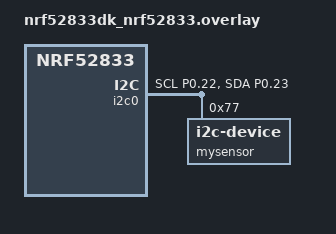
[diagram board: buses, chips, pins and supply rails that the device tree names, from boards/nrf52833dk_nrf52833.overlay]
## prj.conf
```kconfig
#
# Copyright (c) 2016 Intel Corporation
#
# SPDX-License-Identifier: Apache-2.0
#

# STEP 2 - Enable the I2C driver
CONFIG_I2C=y
# STEP 4.2 - Enable floating point format specifiers
CONFIG_CBPRINTF_FP_SUPPORT=y

# Shorten I2C transfer timeout so waveforms appear more frequently
# when no slave is connected (default is 500 ms)
CONFIG_I2C_NRFX_TRANSFER_TIMEOUT=10

# Disable device runtime PM to force TWIM stay active after init
CONFIG_PM_DEVICE_RUNTIME=n
```

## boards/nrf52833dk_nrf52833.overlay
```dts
// To get started, press Ctrl+Space to bring up the completion menu and view the available nodes.
// For more help, browse the DeviceTree documentation at https://docs.zephyrproject.org/latest/guides/dts/index.html

&i2c0 {
    status = "okay";
    
    // We need to use TWIM due to TWI driver issues in nRF Connect SDK v3.2.0 (the issue will be fixed in v3.3.0)
    compatible = "nordic,nrf-twim";

    pinctrl-0 = <&i2c0_default>;
    pinctrl-1 = <&i2c0_sleep>;
    pinctrl-names = "default", "sleep";
    mysensor: mysensor@77{
        compatible = "i2c-device";
        status = "okay";
        reg = < 0x77 >;
    };
};

&pinctrl {
    /omit-if-no-ref/ i2c0_default: i2c0_default {
        group1  {
            psels = <NRF_PSEL(TWIM_SCL, 0, 22)>,
                    <NRF_PSEL(TWIM_SDA, 0, 23)>;
        };
    };

    /omit-if-no-ref/ i2c0_sleep: i2c0_sleep {
        group1  {
            psels = <NRF_PSEL(TWIM_SCL, 0, 22)>,
                    <NRF_PSEL(TWIM_SDA, 0, 23)>;
            low-power-enable;
        };
    };
};
```

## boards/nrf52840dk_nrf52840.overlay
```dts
// To get started, press Ctrl+Space to bring up the completion menu and view the available nodes.
// For more help, browse the DeviceTree documentation at https://docs.zephyrproject.org/latest/guides/dts/index.html

&i2c0 {
    status = "okay";
    
    // We need to use TWIM due to TWI driver issues in nRF Connect SDK v3.2.0 (the issue will be fixed in v3.3.0)
    compatible = "nordic,nrf-twim";

    pinctrl-0 = <&i2c0_default>;
    pinctrl-1 = <&i2c0_sleep>;
    pinctrl-names = "default", "sleep";
    mysensor: mysensor@77{
        compatible = "i2c-device";
        status = "okay";
        reg = < 0x77 >;
    };
};

&pinctrl {
    /omit-if-no-ref/ i2c0_default: i2c0_default {
        group1  {
            psels = <NRF_PSEL(TWIM_SCL, 1, 14)>,
                    <NRF_PSEL(TWIM_SDA, 1, 15)>;
        };
    };

    /omit-if-no-ref/ i2c0_sleep: i2c0_sleep {
        group1  {
            psels = <NRF_PSEL(TWIM_SCL, 1, 14)>,
                    <NRF_PSEL(TWIM_SDA, 1, 15)>;
            low-power-enable;
        };
    };
};
```

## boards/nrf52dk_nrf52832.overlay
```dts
// To get started, press Ctrl+Space to bring up the completion menu and view the available nodes.
// For more help, browse the DeviceTree documentation at https://docs.zephyrproject.org/latest/guides/dts/index.html

&i2c0 {
    status = "okay";
    
    // We need to use TWIM due to TWI driver issues in nRF Connect SDK v3.2.0 (the issue will be fixed in v3.3.0)
    compatible = "nordic,nrf-twim";

    pinctrl-0 = <&i2c0_default>;
    pinctrl-1 = <&i2c0_sleep>;
    pinctrl-names = "default", "sleep";
    mysensor: mysensor@77{
        compatible = "i2c-device";
        status = "okay";
        reg = < 0x77 >;
    };
};

&pinctrl {
    /omit-if-no-ref/ i2c0_default: i2c0_default {
        group1  {
            psels = <NRF_PSEL(TWIM_SCL, 0, 24)>,
                    <NRF_PSEL(TWIM_SDA, 0, 25)>;
        };
    };

    /omit-if-no-ref/ i2c0_sleep: i2c0_sleep {
        group1  {
            psels = <NRF_PSEL(TWIM_SCL, 0, 24)>,
                    <NRF_PSEL(TWIM_SDA, 0, 25)>;
            low-power-enable;
        };
    };
};
```

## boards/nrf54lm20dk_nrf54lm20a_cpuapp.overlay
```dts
// To get started, press Ctrl+Space to bring up the completion menu and view the available nodes.
// For more help, browse the DeviceTree documentation at https://docs.zephyrproject.org/latest/guides/dts/index.html

&i2c21 {
    status = "okay";
	/delete-property/ clock-tolerance-percent;
    pinctrl-0 = <&i2c21_default>;
	pinctrl-1 = <&i2c21_sleep>;
    pinctrl-names = "default", "sleep";
	clock-frequency = <I2C_BITRATE_FAST_PLUS>; /* 400 kbps, you can change to STANDARD (100k) or FAST_PLUS (1M) */
    mysensor: mysensor@77{
        compatible = "i2c-device";
        status = "okay";
        reg = < 0x77 >;
    };
};

&pinctrl {
	/omit-if-no-ref/ i2c21_default: i2c21_default {
		group1 {
			psels = <NRF_PSEL(TWIM_SCL, 1, 13)>,
				    <NRF_PSEL(TWIM_SDA, 1, 14)>;
		};
		nordic,drive-mode = <NRF_DRIVE_H0D1>;
		bias-pull-up;
	};
    /omit-if-no-ref/ i2c21_sleep: i2c21_sleep {
		group1 {
			psels = <NRF_PSEL(TWIM_SCL, 1, 13)>,
				    <NRF_PSEL(TWIM_SDA, 1, 14)>;
		};
		low-power-enable;
	};
};
```

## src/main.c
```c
/*
 * Copyright (c) 2016 Intel Corporation
 *
 * SPDX-License-Identifier: Apache-2.0
 */

#include <zephyr/kernel.h>
#include <zephyr/device.h>
#include <zephyr/devicetree.h>
#include <zephyr/drivers/i2c.h>
#include <zephyr/sys/printk.h>
#include <nrfx_twim.h>
#include <hal/nrf_twim.h>

#define I2C_NODE DT_NODELABEL(mysensor)

int main(void)
{
	static const struct i2c_dt_spec dev_i2c = I2C_DT_SPEC_GET(I2C_NODE);

	if (!device_is_ready(dev_i2c.bus)) {
		printk("I2C bus %s is not ready!\n", dev_i2c.bus->name);
		return -1;
	}

	printk("TWIM CLK test: sending 1 byte in loop...\n");

	/* Read current FREQUENCY register before configure */
	NRF_TWIM_Type *twim = NRF_TWIM21;
	printk("Before i2c_configure, FREQUENCY = 0x%08X\n", (unsigned int)twim->FREQUENCY);

	/* Explicitly set I2C speed to 1000k */
	int ret = i2c_configure(dev_i2c.bus,
				    I2C_MODE_CONTROLLER | I2C_SPEED_SET(I2C_SPEED_FAST_PLUS));
	if (ret != 0) {
		printk("i2c_configure failed: %d\n", ret);
		return -1;
	}
	printk("After i2c_configure, FREQUENCY = 0x%08X\n", (unsigned int)twim->FREQUENCY);

	uint8_t data = 0xAA;

	while (1) {
		(void)i2c_write_dt(&dev_i2c, &data, 1);
	}

	return 0;
}
```
